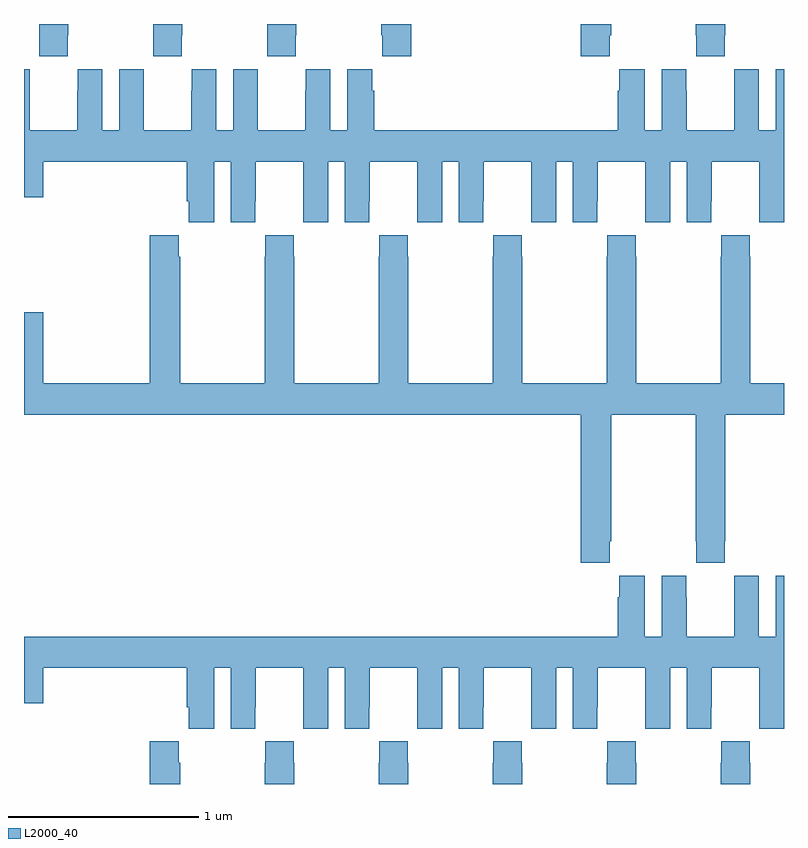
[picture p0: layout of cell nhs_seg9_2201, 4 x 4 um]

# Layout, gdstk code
import gdstk
lib = gdstk.Library(unit=1e-6, precision=1e-09)
def P(c, l, *ps):  # polygons
    for p in ps: c.add(gdstk.Polygon(p, *l))
L2000_40 = (2000, 40)

nhs_seg9_2201 = lib.new_cell('nhs_seg9_2201')
P(nhs_seg9_2201, L2000_40, [(240.687,1174.441),(240.69,1174.441),(240.69,1174.5),(240.535,1174.5),(240.535,1174.441),(240.537,1174.441),(240.537,1174.329),(240.687,1174.329)],
  [(240.083,1174.441),(240.09,1174.441),(240.09,1174.5),(239.93,1174.5),(239.93,1174.329),(240.083,1174.329)],
  [(239.039,1174.5),(238.879,1174.5),(238.879,1174.441),(238.885,1174.441),(238.885,1174.329),(239.039,1174.329)],
  [(237.231,1174.441),(237.234,1174.441),(237.234,1174.5),(237.079,1174.5),(237.079,1174.441),(237.081,1174.441),(237.081,1174.329),(237.231,1174.329)],
  [(237.831,1174.441),(237.834,1174.441),(237.834,1174.5),(237.679,1174.5),(237.679,1174.441),(237.681,1174.441),(237.681,1174.329),(237.831,1174.329)],
  [(238.431,1174.441),(238.434,1174.441),(238.434,1174.5),(238.279,1174.5),(238.279,1174.441),(238.281,1174.441),(238.281,1174.329),(238.431,1174.329)],
  [(238,1173.776),(238.088,1173.776),(238.088,1173.456),(238.218,1173.456),(238.218,1173.568),(238.219,1173.568),(238.219,1173.776),(238.469,1173.776),(238.469,1173.568),(238.47,1173.568),(238.47,1173.456),(238.6,1173.456),(238.6,1173.776),(238.688,1173.776),(238.688,1173.456),(238.818,1173.456),(238.818,1173.568),(238.819,1173.568),(238.819,1173.776),(239.069,1173.776),(239.069,1173.568),(239.07,1173.568),(239.07,1173.456),(239.2,1173.456),(239.2,1173.776),(239.288,1173.776),(239.288,1173.456),(239.418,1173.456),(239.418,1173.568),(239.419,1173.568),(239.419,1173.776),(239.669,1173.776),(239.669,1173.568),(239.67,1173.568),(239.67,1173.456),(239.8,1173.456),(239.8,1173.776),(239.888,1173.776),(239.888,1173.456),(240.018,1173.456),(240.018,1173.568),(240.019,1173.568),(240.019,1173.776),(240.269,1173.776),(240.269,1173.568),(240.27,1173.568),(240.27,1173.456),(240.4,1173.456),(240.4,1173.776),(240.488,1173.776),(240.488,1173.456),(240.618,1173.456),(240.618,1173.568),(240.619,1173.568),(240.619,1173.776),(240.869,1173.776),(240.869,1173.568),(240.87,1173.568),(240.87,1173.456),(241,1173.456),(241,1174.261),(240.956,1174.261),(240.956,1173.94),(240.868,1173.94),(240.868,1174.261),(240.738,1174.261),(240.738,1174.148),(240.737,1174.148),(240.737,1173.94),(240.487,1173.94),(240.487,1174.148),(240.486,1174.148),(240.486,1174.261),(240.356,1174.261),(240.356,1173.94),(240.268,1173.94),(240.268,1174.261),(240.134,1174.261),(240.134,1174.148),(240.125,1174.148),(240.125,1173.94),(238.844,1173.94),(238.844,1174.148),(238.834,1174.148),(238.834,1174.261),(238.7,1174.261),(238.7,1173.94),(238.612,1173.94),(238.612,1174.261),(238.482,1174.261),(238.482,1174.148),(238.481,1174.148),(238.481,1173.94),(238.231,1173.94),(238.231,1174.148),(238.23,1174.148),(238.23,1174.261),(238.1,1174.261),(238.1,1173.94),(238.012,1173.94),(238.012,1174.261),(237.882,1174.261),(237.882,1174.148),(237.881,1174.148),(237.881,1173.94),(237.631,1173.94),(237.631,1174.148),(237.63,1174.148),(237.63,1174.261),(237.5,1174.261),(237.5,1173.94),(237.412,1173.94),(237.412,1174.261),(237.282,1174.261),(237.282,1174.148),(237.281,1174.148),(237.281,1173.94),(237.031,1173.94),(237.031,1174.148),(237.03,1174.148),(237.03,1174.261),(237,1174.261),(237,1173.588),(237.1,1173.588),(237.1,1173.776),(237.857,1173.776),(237.857,1173.568),(237.866,1173.568),(237.866,1173.456),(238,1173.456)],
  [(240.083,1171.777),(240.09,1171.777),(240.09,1172.444),(240.535,1172.444),(240.535,1171.777),(240.537,1171.777),(240.537,1171.665),(240.687,1171.665),(240.687,1171.777),(240.69,1171.777),(240.69,1172.444),(241,1172.444),(241,1172.608),(240.822,1172.608),(240.822,1173.275),(240.819,1173.275),(240.819,1173.388),(240.669,1173.388),(240.669,1173.275),(240.667,1173.275),(240.667,1172.608),(240.222,1172.608),(240.222,1173.275),(240.219,1173.275),(240.219,1173.388),(240.069,1173.388),(240.069,1173.275),(240.067,1173.275),(240.067,1172.608),(239.622,1172.608),(239.622,1173.275),(239.619,1173.275),(239.619,1173.388),(239.469,1173.388),(239.469,1173.275),(239.467,1173.275),(239.467,1172.608),(239.022,1172.608),(239.022,1173.275),(239.019,1173.275),(239.019,1173.388),(238.869,1173.388),(238.869,1173.275),(238.867,1173.275),(238.867,1172.608),(238.422,1172.608),(238.422,1173.275),(238.419,1173.275),(238.419,1173.388),(238.269,1173.388),(238.269,1173.275),(238.267,1173.275),(238.267,1172.608),(237.822,1172.608),(237.822,1173.275),(237.815,1173.275),(237.815,1173.388),(237.662,1173.388),(237.662,1172.608),(237.1,1172.608),(237.1,1172.983),(237,1172.983),(237,1172.444),(239.93,1172.444),(239.93,1171.665),(240.083,1171.665)],
  [(237,1170.924),(237.1,1170.924),(237.1,1171.112),(237.857,1171.112),(237.857,1170.904),(237.866,1170.904),(237.866,1170.792),(238,1170.792),(238,1171.112),(238.088,1171.112),(238.088,1170.792),(238.218,1170.792),(238.218,1170.904),(238.219,1170.904),(238.219,1171.112),(238.469,1171.112),(238.469,1170.904),(238.47,1170.904),(238.47,1170.792),(238.6,1170.792),(238.6,1171.112),(238.688,1171.112),(238.688,1170.792),(238.818,1170.792),(238.818,1170.904),(238.819,1170.904),(238.819,1171.112),(239.069,1171.112),(239.069,1170.904),(239.07,1170.904),(239.07,1170.792),(239.2,1170.792),(239.2,1171.112),(239.288,1171.112),(239.288,1170.792),(239.418,1170.792),(239.418,1170.904),(239.419,1170.904),(239.419,1171.112),(239.669,1171.112),(239.669,1170.904),(239.67,1170.904),(239.67,1170.792),(239.8,1170.792),(239.8,1171.112),(239.888,1171.112),(239.888,1170.792),(240.018,1170.792),(240.018,1170.904),(240.019,1170.904),(240.019,1171.112),(240.269,1171.112),(240.269,1170.904),(240.27,1170.904),(240.27,1170.792),(240.4,1170.792),(240.4,1171.112),(240.488,1171.112),(240.488,1170.792),(240.618,1170.792),(240.618,1170.904),(240.619,1170.904),(240.619,1171.112),(240.869,1171.112),(240.869,1170.904),(240.87,1170.904),(240.87,1170.792),(241,1170.792),(241,1171.597),(240.956,1171.597),(240.956,1171.276),(240.868,1171.276),(240.868,1171.597),(240.738,1171.597),(240.738,1171.484),(240.737,1171.484),(240.737,1171.276),(240.487,1171.276),(240.487,1171.484),(240.486,1171.484),(240.486,1171.597),(240.356,1171.597),(240.356,1171.276),(240.268,1171.276),(240.268,1171.597),(240.134,1171.597),(240.134,1171.484),(240.125,1171.484),(240.125,1171.276),(237,1171.276)],
  [(237.822,1170.611),(237.815,1170.611),(237.815,1170.724),(237.662,1170.724),(237.662,1170.5),(237.822,1170.5)],
  [(238.422,1170.611),(238.419,1170.611),(238.419,1170.724),(238.269,1170.724),(238.269,1170.611),(238.267,1170.611),(238.267,1170.5),(238.422,1170.5)],
  [(239.022,1170.611),(239.019,1170.611),(239.019,1170.724),(238.869,1170.724),(238.869,1170.611),(238.867,1170.611),(238.867,1170.5),(239.022,1170.5)],
  [(239.622,1170.611),(239.619,1170.611),(239.619,1170.724),(239.469,1170.724),(239.469,1170.611),(239.467,1170.611),(239.467,1170.5),(239.622,1170.5)],
  [(240.222,1170.611),(240.219,1170.611),(240.219,1170.724),(240.069,1170.724),(240.069,1170.611),(240.067,1170.611),(240.067,1170.5),(240.222,1170.5)],
  [(240.822,1170.611),(240.819,1170.611),(240.819,1170.724),(240.669,1170.724),(240.669,1170.611),(240.667,1170.611),(240.667,1170.5),(240.822,1170.5)])

lib.write_gds('nhs_seg9_2201.gds')
